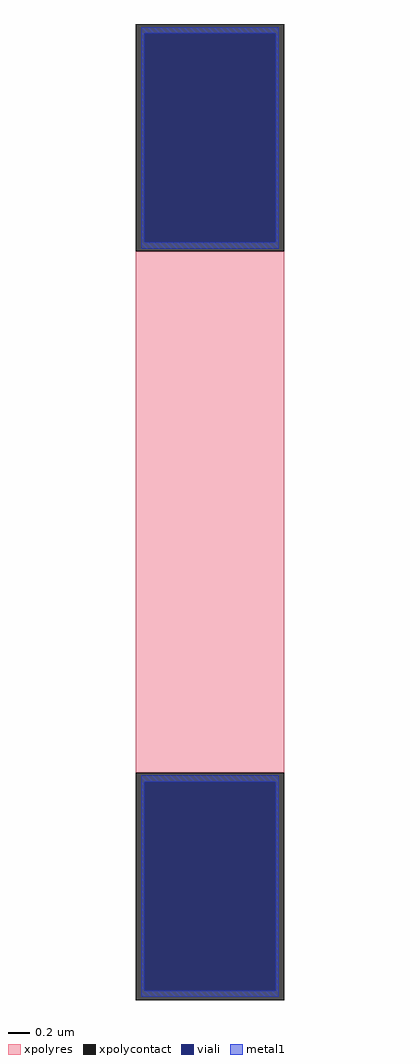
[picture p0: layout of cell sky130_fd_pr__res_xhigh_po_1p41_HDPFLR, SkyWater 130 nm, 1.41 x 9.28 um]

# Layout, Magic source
magic
tech sky130A
magscale 1 2
<< xpolycontact >>
rect -141 496 141 928
rect -141 -928 141 -496
<< xpolyres >>
rect -141 -496 141 496
<< viali >>
rect -125 513 125 910
rect -125 -910 125 -513
<< metal1 >>
rect -131 910 131 922
rect -131 513 -125 910
rect 125 513 131 910
rect -131 501 131 513
rect -131 -513 131 -501
rect -131 -910 -125 -513
rect 125 -910 131 -513
rect -131 -922 131 -910
<< properties >>
string gencell sky130_fd_pr__res_xhigh_po_1p41
string library sky130
string parameters w 1.410 l 5.115 m 1 nx 1 wmin 1.410 lmin 0.50 rho 2000 val 7.522k dummy 0 dw 0.0 term 188.2 sterm 0.0 caplen 0 wmax 1.410 guard 0 glc 1 grc 1 gtc 1 gbc 1 compatible {sky130_fd_pr__res_xhigh_po_0p35  sky130_fd_pr__res_xhigh_po_0p69 sky130_fd_pr__res_xhigh_po_1p41  sky130_fd_pr__res_xhigh_po_2p85 sky130_fd_pr__res_xhigh_po_5p73} snake 0 full_metal 1 n_guard 0 hv_guard 0 vias 1 viagb 0 viagt 0 viagl 0 viagr 0
<< end >>
